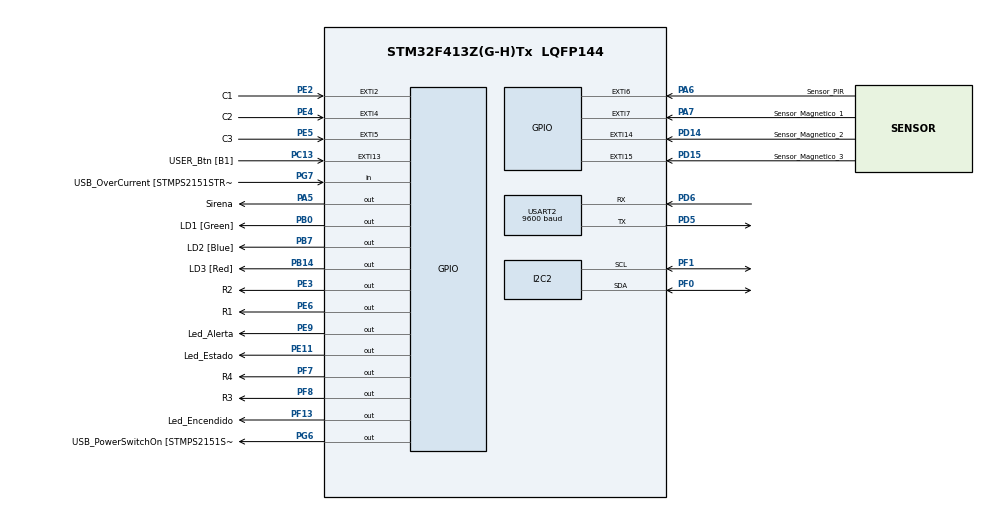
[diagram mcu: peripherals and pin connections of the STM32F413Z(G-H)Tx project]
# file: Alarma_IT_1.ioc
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Mcu.Family=STM32F4
Mcu.Name=STM32F413Z(G-H)Tx
Mcu.Package=LQFP144
NVIC.EXTI15_10_IRQn=true\:0\:0\:false\:false\:true\:true\:true\:true
NVIC.EXTI2_IRQn=true\:0\:0\:false\:false\:true\:true\:true\:true
NVIC.EXTI4_IRQn=true\:0\:0\:false\:false\:true\:true\:true\:true
NVIC.EXTI9_5_IRQn=true\:0\:0\:false\:false\:true\:true\:true\:true
NVIC.PriorityGroup=NVIC_PRIORITYGROUP_4
NVIC.USART2_IRQn=true\:0\:0\:false\:false\:true\:true\:true\:true
PA13.GPIO_Label=TMS
PA13.Mode=Serial_Wire
PA13.Signal=SYS_JTMS-SWDIO
PA14.GPIO_Label=TCK
PA14.Mode=Serial_Wire
PA14.Signal=SYS_JTCK-SWCLK
PA5.GPIO_Label=Sirena
PA5.GPIO_PuPd=GPIO_PULLDOWN
PA5.PinState=GPIO_PIN_RESET
PA5.Signal=GPIO_Output
PA6.GPIO_Label=Sensor_PIR
PA6.GPIO_ModeDefaultEXTI=GPIO_MODE_IT_FALLING
PA6.GPIO_PuPd=GPIO_PULLUP
PA6.Signal=GPXTI6
PA7.GPIO_Label=Sensor_Magnetico_1
PA7.GPIO_ModeDefaultEXTI=GPIO_MODE_IT_FALLING
PA7.GPIO_PuPd=GPIO_PULLUP
PA7.Signal=GPXTI7
PB0.GPIO_Label=LD1 [Green]
PB0.Signal=GPIO_Output
PB14.GPIO_Label=LD3 [Red]
PB14.Signal=GPIO_Output
PB3.GPIO_Label=SWO
PB3.Signal=SYS_JTDO-SWO
PB7.GPIO_Label=LD2 [Blue]
PB7.Signal=GPIO_Output
PC13.GPIO_Label=USER_Btn [B1]
PC13.Signal=GPXTI13
PC14-OSC32_IN.Mode=LSE-External-Oscillator
PC14-OSC32_IN.Signal=RCC_OSC32_IN
PC15-OSC32_OUT.Mode=LSE-External-Oscillator
PC15-OSC32_OUT.Signal=RCC_OSC32_OUT
PD14.GPIO_Label=Sensor_Magnetico_2
PD14.GPIO_ModeDefaultEXTI=GPIO_MODE_IT_FALLING
PD14.GPIO_PuPd=GPIO_PULLUP
PD14.Signal=GPXTI14
PD15.GPIO_Label=Sensor_Magnetico_3
PD15.Signal=GPXTI15
PD5.Mode=Asynchronous
PD5.Signal=USART2_TX
PD6.Mode=Asynchronous
PD6.Signal=USART2_RX
PE11.GPIO_Label=Led_Estado
PE11.Signal=GPIO_Output
PE2.GPIO_Label=C1
PE2.GPIO_ModeDefaultEXTI=GPIO_MODE_IT_FALLING
PE2.GPIO_PuPd=GPIO_PULLUP
PE2.Signal=GPXTI2
PE3.GPIO_Label=R2
PE3.PinState=GPIO_PIN_SET
PE3.Signal=GPIO_Output
PE4.GPIO_Label=C2
PE4.GPIO_ModeDefaultEXTI=GPIO_MODE_IT_FALLING
PE4.GPIO_PuPd=GPIO_PULLUP
PE4.Signal=GPXTI4
PE5.GPIO_Label=C3
PE5.GPIO_ModeDefaultEXTI=GPIO_MODE_IT_FALLING
PE5.GPIO_PuPd=GPIO_PULLUP
PE5.Signal=GPXTI5
PE6.GPIO_Label=R1
PE6.PinState=GPIO_PIN_SET
PE6.Signal=GPIO_Output
PE9.GPIO_Label=Led_Alerta
PE9.Signal=GPIO_Output
PF0.Mode=I2C
PF0.Signal=I2C2_SDA
PF1.Mode=I2C
PF1.Signal=I2C2_SCL
PF13.GPIO_Label=Led_Encendido
PF13.Signal=GPIO_Output
PF7.GPIO_Label=R4
PF7.PinState=GPIO_PIN_SET
PF7.Signal=GPIO_Output
PF8.GPIO_Label=R3
PF8.PinState=GPIO_PIN_SET
PF8.Signal=GPIO_Output
PG6.GPIO_Label=USB_PowerSwitchOn [STMPS2151STR_EN]
PG6.Signal=GPIO_Output
PG7.GPIO_Label=USB_OverCurrent [STMPS2151STR_FAULT]
PG7.Signal=GPIO_Input
PH0\ -\ OSC_IN.GPIO_Label=MCO
PH0\ -\ OSC_IN.Mode=HSE-External-Clock-Source
PH0\ -\ OSC_IN.Signal=RCC_OSC_IN
PH1\ -\ OSC_OUT.Mode=HSE-External-Clock-Source
PH1\ -\ OSC_OUT.Signal=RCC_OSC_OUT
ProjectManager.HeapSize=0x200
ProjectManager.StackSize=0x400
ProjectManager.TargetToolchain=STM32CubeIDE
RCC.48MHZClocksFreq_Value=24000000
RCC.AHBFreq_Value=96000000
RCC.APB1CLKDivider=RCC_HCLK_DIV2
RCC.APB1Freq_Value=48000000
RCC.APB1TimFreq_Value=96000000
RCC.APB2Freq_Value=96000000
RCC.APB2TimFreq_Value=96000000
RCC.CortexFreq_Value=96000000
RCC.HCLKFreq_Value=96000000
RCC.HSE_VALUE=8000000
RCC.HSI_VALUE=16000000
RCC.PLLM=8
RCC.PLLMUL=RCC_PLL_MUL9
RCC.PLLN=384
RCC.PLLP=RCC_PLLP_DIV4
RCC.PLLQ=8
RCC.PLLSourceVirtual=RCC_PLLSOURCE_HSE
RCC.PRESCALERUSB=RCC_USBCLKSOURCE_PLL_DIV1_5
RCC.SYSCLKFreq_VALUE=96000000
RCC.SYSCLKSource=RCC_SYSCLKSOURCE_PLLCLK
RCC.SYSCLKSourceVirtual=RCC_SYSCLKSOURCE_PLLCLK
RCC.USBFreq_Value=48000000
RCC.VCOOutputFreq_Value=384000000
USART2.BaudRate=9600
USART2.VirtualMode=VM_ASYNC
board=NUCLEO-F413ZH

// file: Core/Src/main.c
/* USER CODE BEGIN Header */
/**
  ******************************************************************************
  * @file           : main.c
  * @brief          : Main program body
  ******************************************************************************
  * @attention
  *
  * Copyright (c) 2025 STMicroelectronics.
  * All rights reserved.
  *
  * This software is licensed under terms that can be found in the LICENSE file
  * in the root directory of this software component.
  * If no LICENSE file comes with this software, it is provided AS-IS.
  *
  ******************************************************************************
  */
/* USER CODE END Header */
#include "main.h"

/* USER CODE BEGIN Includes */
#include "API_BT.h"				//Libreria para el manejo de modulo HC-05 USART2
#include "API_GPIO.h"			//Libreria para el manejo de puertos GPIO (Sensores, Sirena y Leds)
#include "API_Debounce.h"		//Libreria para evitar el rebote mecanico en la pulsacion de botones
#include "API_Delay.h"			//Libreria para retardo NO bloqueante
#include "API_Keypad.h"			//Libreria para manejo de teclado matricial 4x3
#include "API_LCD.h"			//Libreria para el manejo de pantalla LCD 2x16 I2C
#include <stdio.h>
#include <string.h>
#include <stdbool.h>
/* USER CODE END Includes */

I2C_HandleTypeDef hi2c2;
UART_HandleTypeDef huart2;
/* USER CODE BEGIN PV */
char key;
//extern volatile uint16_t columnPressed = 0;  // Columna detectada en la interrupción
/* USER CODE END PV */

/* USER CODE BEGIN PFP */
void DisplayMainMenu();
/* USER CODE END PFP */

int main(void)
{

  /* MCU Configuration--------------------------------------------------------*/

  /* Reset of all peripherals, Initializes the Flash interface and the Systick. */
  HAL_Init();

  /* Configure the system clock */
  SystemClock_Config();

  /* Initialize all configured peripherals */
  MX_GPIO_Init();
  MX_I2C2_Init();
  MX_USART2_UART_Init();

  /* USER CODE BEGIN 2 */
  lcd_init();
  DisplayMainMenu();
  debounceFSM_init();  // Inicializa la FSM de debounce
  /* USER CODE END 2 */

  /* Infinite loop */
  while (1)
  {
	  while (1) {
		  // Verificar si hay una interrupción pendiente y escanear la tecla
		  key = keypad_scan(columnPressed);
		  if (key != '\0') {
			  //printf("Tecla presionada: %c\n", key);  // Se puede enviar por UART o LCD
			  BT_Test_2();
			  keypad_resetColumn();  // Reiniciar la columna procesada
		  }
	  }
  }
}
/* USER CODE BEGIN 4 */
/*****************************************************************************************************************
 * @brief: Función para mostrar el menú principal
 * @param: void
 * @retval: void
******************************************************************************************************************/
void DisplayMainMenu(void) {
    lcd_clear();
    lcd_set_cursor(0, 0);
    lcd_print("1.Activar *.Mas");
    lcd_set_cursor(1, 0);
    lcd_print("2.Cambiar Pass");
    //currentState = MAIN_MENU;
}
/*****************************************************************************************************************
 * @brief: Callback de interrupción de los pines GPIO.
 *         Maneja interrupciones del teclado matricial y los sensores de la alarma.
 * @param: GPIO_Pin - Pin GPIO que generó la interrupción.
 * @retval: void
******************************************************************************************************************/
/**
 * @brief Callback de interrupción de las columnas
 * @param GPIO_Pin - Pin de la columna que generó la interrupción
 */
void HAL_GPIO_EXTI_Callback(uint16_t GPIO_Pin) {
    if (GPIO_Pin == C1_Pin || GPIO_Pin == C2_Pin || GPIO_Pin == C3_Pin) {
        columnPressed = GPIO_Pin;  // Guardar la columna que generó la interrupción
    }
}
/* USER CODE END 4 */

void Error_Handler(void)
{
  __disable_irq();
  while (1)
  {
  }
}
